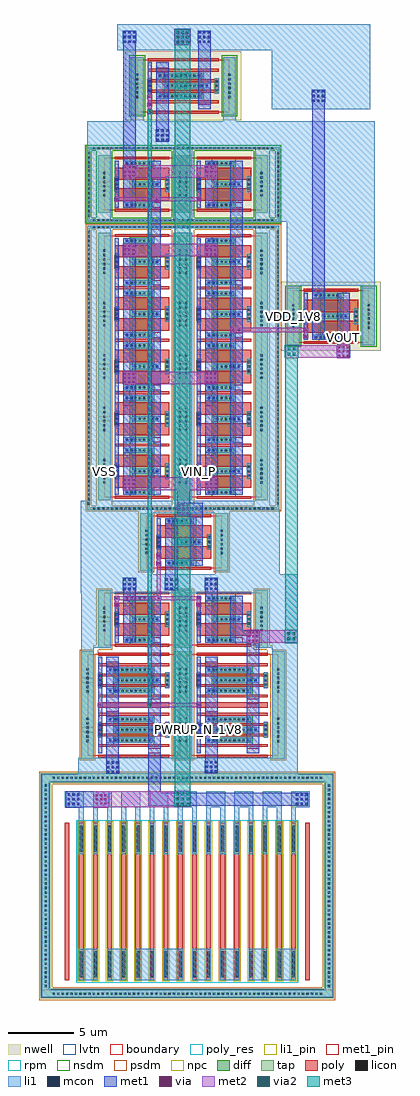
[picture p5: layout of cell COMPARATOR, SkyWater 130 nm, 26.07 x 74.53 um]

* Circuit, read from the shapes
.subckt COMPARATOR PWRUP_N_1V8 VDD_1V8 VIN_N VIN_P VOUT VSS
XM1 JNWATR_NCH_4C5F0_13/D PWRUP_N_1V8 VSS VSS sky130_fd_pr__nfet_01v8 w=2.88 l=0.22 m=4
XM2 JNWATR_NCH_4C5F0_13/D JNWATR_NCH_4C5F0_13/D VSS VSS sky130_fd_pr__nfet_01v8 w=1.6 l=0.94 m=2
XM3 JNWATR_NCH_4C5F0_17/D VIN_N JNWATR_NCH_4C5F0_16/D VSS sky130_fd_pr__nfet_01v8 w=1.6 l=0.94 m=10
XM4 JNWATR_NCH_4C5F0_16/D JNWATR_NCH_4C5F0_13/D VSS VSS sky130_fd_pr__nfet_01v8 w=1.6 l=0.94 m=2
XM5 VOUT PWRUP_N_1V8 VSS VSS sky130_fd_pr__nfet_01v8 w=2.88 l=0.22 m=4
XM6 VOUT JNWATR_NCH_4C5F0_13/D VSS VSS sky130_fd_pr__nfet_01v8 w=1.6 l=0.94 m=2
XM7 JNWATR_NCH_4C5F0_10/D VIN_P JNWATR_NCH_4C5F0_16/D VSS sky130_fd_pr__nfet_01v8 w=1.6 l=0.94 m=10
XM8 JNWATR_NCH_4C5F0_17/D JNWATR_NCH_4C5F0_17/D JNWATR_PCH_8C1F2_12/D VDD_1V8 sky130_fd_pr__pfet_01v8 w=1.6 l=0.94 m=2
XM9 JNWATR_PCH_8C1F2_12/D PWRUP_N_1V8 VDD_1V8 VDD_1V8 sky130_fd_pr__pfet_01v8 w=2.88 l=0.22 m=2
XM10 JNWATR_NCH_4C5F0_10/D JNWATR_NCH_4C5F0_17/D JNWATR_PCH_8C1F2_12/D VDD_1V8 sky130_fd_pr__pfet_01v8 w=1.6 l=0.94 m=2
XM11 VOUT JNWATR_NCH_4C5F0_10/D JNWATR_PCH_8C1F2_12/D VDD_1V8 sky130_fd_pr__pfet_01v8_lvt w=1.6 l=0.94 m=2
XR12 JNWATR_PCH_8C1F2_12/D n1 VSS sky130_fd_pr__res_high_po w=0.36 l=7.24
XR13 n2 n1 VSS sky130_fd_pr__res_high_po w=0.36 l=7.24
XR14 n2 n3 VSS sky130_fd_pr__res_high_po w=0.36 l=7.24
XR15 n4 n3 VSS sky130_fd_pr__res_high_po w=0.36 l=7.24
XR16 n4 n5 VSS sky130_fd_pr__res_high_po w=0.36 l=7.24
XR17 n6 n5 VSS sky130_fd_pr__res_high_po w=0.36 l=7.24
XR18 n6 n7 VSS sky130_fd_pr__res_high_po w=0.36 l=7.24
XR19 n8 n7 VSS sky130_fd_pr__res_high_po w=0.36 l=7.24
XR20 n8 n9 VSS sky130_fd_pr__res_high_po w=0.36 l=7.24
XR21 n10 n9 VSS sky130_fd_pr__res_high_po w=0.36 l=7.24
XR22 n10 n11 VSS sky130_fd_pr__res_high_po w=0.36 l=7.24
XR23 n12 n11 VSS sky130_fd_pr__res_high_po w=0.36 l=7.24
XR24 n12 n13 VSS sky130_fd_pr__res_high_po w=0.36 l=7.24
XR25 n14 n13 VSS sky130_fd_pr__res_high_po w=0.36 l=7.24
XR26 n14 n15 VSS sky130_fd_pr__res_high_po w=0.36 l=7.24
XR27 JNWATR_NCH_4C5F0_13/D n15 VSS sky130_fd_pr__res_high_po w=0.36 l=7.24
.ends

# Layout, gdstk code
from math import pi, radians
import gdstk
lib = gdstk.Library(unit=1e-6, precision=1e-09)
def R(c, l, rs):  # rectangles x0, y0, x1, y1
    for r in rs: c.add(gdstk.rectangle(r[:2], r[2:], *l))
def A(c, l, x, y, w, h, nx, ny, dx, dy):  # array of equal rectangles
    R(c, l, [(x+i*dx, y+j*dy, x+i*dx+w, y+j*dy+h) for i in range(nx) for j in range(ny)])
nwell = (64, 20)
diff = (65, 20)
tap = (65, 44)
poly_res = (66, 13)
poly = (66, 20)
licon = (66, 44)
li1_pin = (67, 16)
li1 = (67, 20)
mcon = (67, 44)
met1_pin = (68, 16)
met1 = (68, 20)
via = (68, 44)
met2 = (69, 20)
via2 = (69, 44)
met3 = (70, 20)
rpm = (86, 20)
nsdm = (93, 44)
psdm = (94, 20)
npc = (95, 20)
lvtn = (125, 44)
boundary = (235, 4)

jnwtr_res16 = lib.new_cell('JNWTR_RES16')
A(jnwtr_res16, poly_res, 0.9, 1.72, 0.36, 7.36, 16, 1, 1.08, 0)
A(jnwtr_res16, poly, -0.18, -0.6, 0.36, 12, 18, 1, 1.08, 0)
A(jnwtr_res16, licon, 0.985, -0.4, 0.19, 2, 16, 2, 1.08, 9.6)
R(jnwtr_res16, li1_pin, [(-0.18,12.6,1.26,13.8), (17.1,12.6,18.54,13.8)])
A(jnwtr_res16, li1, 0.9, -0.6, 1.44, 2.4, 8, 1, 2.16, 0)
A(jnwtr_res16, li1, 0.9, 9, 0.36, 3.6, 16, 1, 1.08, 0)
A(jnwtr_res16, li1, -0.18, 12.6, 1.44, 1.2, 9, 1, 2.16, 0)
R(jnwtr_res16, rpm, [(0.7,-0.8,17.66,11.6)])
A(jnwtr_res16, psdm, 0.79, -0.71, 0.58, 12.22, 16, 1, 1.08, 0)
A(jnwtr_res16, npc, 0.805, -0.695, 0.55, 12.19, 16, 1, 1.08, 0)
R(jnwtr_res16, boundary, [(0,0,18.36,13.2)])
jnwtr_res16.add(gdstk.Label('N', (0.54,13.2), layer=67, texttype=5))
jnwtr_res16.add(gdstk.Label('P', (17.82,13.2), layer=67, texttype=5))

jnwtr_rppo16 = lib.new_cell('JNWTR_RPPO16')
R(jnwtr_rppo16, tap, [(0,0,22.36,0.72), (0,0.72,0.72,16.48), (21.64,0.72,22.36,16.48), (0,16.48,22.36,17.2)])
A(jnwtr_rppo16, licon, 0.895, 0.275, 0.17, 0.17, 61, 2, 0.34, 16.48)
A(jnwtr_rppo16, licon, 0.275, 0.865, 0.17, 0.17, 1, 46, 0, 0.34)
A(jnwtr_rppo16, licon, 21.915, 0.865, 0.17, 0.17, 1, 46, 0, 0.34)
R(jnwtr_rppo16, li1_pin, [(0.08,0.08,22.28,0.64), (1.82,14.6,3.26,15.8), (19.1,14.6,20.54,15.8)])
R(jnwtr_rppo16, li1, [(0.08,0.08,22.28,0.64), (0.08,0.64,0.64,16.56), (21.72,0.64,22.28,16.56), (1.82,14.6,3.26,15.8), (19.1,14.6,20.54,15.8), (0.08,16.56,22.28,17.12)])
R(jnwtr_rppo16, psdm, [(-0.125,-0.125,22.485,0.845), (-0.125,0.845,0.845,16.355), (21.515,0.845,22.485,16.355), (-0.125,16.355,22.485,17.325)])
R(jnwtr_rppo16, boundary, [(0,0,22.36,17.2)])
jnwtr_rppo16.add(gdstk.Reference(jnwtr_res16, (2,2)))
jnwtr_rppo16.add(gdstk.Label('P', (19.82,15.2), layer=67, texttype=5))
jnwtr_rppo16.add(gdstk.Label('N', (2.54,15.2), layer=67, texttype=5))
jnwtr_rppo16.add(gdstk.Label('B', (11.18,0.36), layer=67, texttype=5))

leloatr_lvt_pch_4c5f0 = lib.new_cell('LELOATR_LVT_PCH_4C5F0')
R(leloatr_lvt_pch_4c5f0, nwell, [(-0.92,-0.64,6.68,4.64)])
R(leloatr_lvt_pch_4c5f0, diff, [(2.08,0.2,3.68,3.8)])
R(leloatr_lvt_pch_4c5f0, tap, [(-0.48,-0.2,0.48,4.2), (5.28,-0.2,6.24,4.2)])
R(leloatr_lvt_pch_4c5f0, poly, [(0.8,-0.11,4.96,0.11), (0.8,0.73,4.96,1.67), (0.8,1.67,1.12,2.33), (4.64,1.67,4.96,2.33), (0.8,2.33,4.96,3.27), (0.8,3.89,4.96,4.11)])
A(leloatr_lvt_pch_4c5f0, licon, 2.285, 0.315, 0.17, 0.17, 4, 3, 0.34, 1.6)
A(leloatr_lvt_pch_4c5f0, licon, -0.085, 1.065, 0.17, 0.17, 1, 6, 0, 0.34)
A(leloatr_lvt_pch_4c5f0, licon, 5.675, 1.065, 0.17, 0.17, 1, 6, 0, 0.34)
A(leloatr_lvt_pch_4c5f0, licon, 0.875, 1.575, 0.17, 0.17, 1, 3, 0, 0.34)
A(leloatr_lvt_pch_4c5f0, licon, 4.715, 1.575, 0.17, 0.17, 1, 3, 0, 0.34)
R(leloatr_lvt_pch_4c5f0, li1_pin, [(-0.48,1.8,0.48,2.2)])
R(leloatr_lvt_pch_4c5f0, li1, [(-0.48,-0.2,0.48,4.2), (5.28,-0.2,6.24,4.2), (1.44,0.2,3.68,0.6), (0.8,1.4,1.12,2.6), (4.64,1.4,4.96,2.6), (2.08,1.8,4.32,2.2), (1.44,3.4,3.68,3.8)])
A(leloatr_lvt_pch_4c5f0, mcon, 0.875, 1.555, 0.17, 0.17, 1, 3, 0, 0.36)
R(leloatr_lvt_pch_4c5f0, mcon, [(1.655,0.315,1.825,0.485), (2.015,0.315,2.185,0.485), (3.575,1.915,3.745,2.085), (3.935,1.915,4.105,2.085), (1.655,3.515,1.825,3.685), (2.015,3.515,2.185,3.685)])
R(leloatr_lvt_pch_4c5f0, met1_pin, [(3.36,0.2,4.32,0.6), (0.8,1.8,1.12,2.2), (1.44,3,2.4,3.4)])
R(leloatr_lvt_pch_4c5f0, met1, [(0.8,0.2,1.12,3.8), (1.44,0.2,2.4,3.8), (3.36,0.2,4.32,3.8)])
R(leloatr_lvt_pch_4c5f0, nsdm, [(-0.605,-0.325,0.605,4.325), (5.155,-0.325,6.365,4.325)])
R(leloatr_lvt_pch_4c5f0, psdm, [(1.955,0.075,3.805,3.925)])
R(leloatr_lvt_pch_4c5f0, npc, [(0.775,1.475,1.145,2.525), (4.615,1.475,4.985,2.525)])
R(leloatr_lvt_pch_4c5f0, lvtn, [(1.9,0.55,3.86,3.45)])
R(leloatr_lvt_pch_4c5f0, boundary, [(0,0,5.76,4)])
leloatr_lvt_pch_4c5f0.add(gdstk.Label('D', (3.84,0.4), layer=68, texttype=5))
leloatr_lvt_pch_4c5f0.add(gdstk.Label('G', (0.96,2), layer=68, texttype=5))
leloatr_lvt_pch_4c5f0.add(gdstk.Label('S', (1.92,3.2), layer=68, texttype=5))
leloatr_lvt_pch_4c5f0.add(gdstk.Label('B', (0,2), layer=67, texttype=5))

leloatr_nch_8c1f2 = lib.new_cell('LELOATR_NCH_8C1F2')
R(leloatr_nch_8c1f2, diff, [(2.08,1,4.96,3)])
R(leloatr_nch_8c1f2, tap, [(-0.48,-0.2,0.48,4.2), (6.56,-0.2,7.52,4.2)])
A(leloatr_nch_8c1f2, poly, 0.8, -0.11, 5.44, 0.22, 1, 6, 0, 0.8)
R(leloatr_nch_8c1f2, poly, [(0.8,1.4,1.12,1.49), (5.92,1.4,6.24,1.49), (0.8,1.71,1.12,2.29), (5.92,1.71,6.24,2.29), (0.8,2.51,1.12,2.6), (5.92,2.51,6.24,2.6)])
A(leloatr_nch_8c1f2, licon, -0.085, 1.065, 0.17, 0.17, 1, 6, 0, 0.34)
A(leloatr_nch_8c1f2, licon, 6.955, 1.065, 0.17, 0.17, 1, 6, 0, 0.34)
A(leloatr_nch_8c1f2, licon, 2.245, 1.115, 0.17, 0.17, 8, 3, 0.34, 0.8)
A(leloatr_nch_8c1f2, licon, 0.875, 1.575, 0.17, 0.17, 1, 3, 0, 0.34)
A(leloatr_nch_8c1f2, licon, 5.995, 1.575, 0.17, 0.17, 1, 3, 0, 0.34)
R(leloatr_nch_8c1f2, li1_pin, [(-0.48,1.8,0.48,2.2)])
R(leloatr_nch_8c1f2, li1, [(-0.48,-0.2,0.48,4.2), (6.56,-0.2,7.52,4.2), (1.44,1,4.96,1.4), (0.8,1.4,1.12,2.6), (5.92,1.4,6.24,2.6), (2.08,1.8,5.6,2.2), (1.44,2.6,4.96,3)])
A(leloatr_nch_8c1f2, mcon, 0.875, 1.555, 0.17, 0.17, 1, 3, 0, 0.36)
R(leloatr_nch_8c1f2, mcon, [(1.655,1.115,1.825,1.285), (2.015,1.115,2.185,1.285), (4.855,1.915,5.025,2.085), (5.215,1.915,5.385,2.085), (1.655,2.715,1.825,2.885), (2.015,2.715,2.185,2.885)])
R(leloatr_nch_8c1f2, met1_pin, [(4.64,0.2,5.6,0.6), (0.8,1.8,1.12,2.2), (1.44,3,2.4,3.4)])
R(leloatr_nch_8c1f2, met1, [(0.8,0.2,1.12,3.8), (1.44,0.2,2.4,3.8), (4.64,0.2,5.6,3.8)])
R(leloatr_nch_8c1f2, nsdm, [(1.955,0.875,5.085,3.125)])
R(leloatr_nch_8c1f2, psdm, [(-0.605,-0.325,0.605,4.325), (6.435,-0.325,7.645,4.325)])
R(leloatr_nch_8c1f2, npc, [(0.775,1.475,1.145,2.525), (5.895,1.475,6.265,2.525)])
R(leloatr_nch_8c1f2, boundary, [(0,0,7.04,4)])
leloatr_nch_8c1f2.add(gdstk.Label('D', (5.12,0.4), layer=68, texttype=5))
leloatr_nch_8c1f2.add(gdstk.Label('G', (0.96,2), layer=68, texttype=5))
leloatr_nch_8c1f2.add(gdstk.Label('S', (1.92,3.2), layer=68, texttype=5))
leloatr_nch_8c1f2.add(gdstk.Label('B', (0,2), layer=67, texttype=5))

jnwatr_pch_4c5f0 = lib.new_cell('JNWATR_PCH_4C5F0')
R(jnwatr_pch_4c5f0, nwell, [(-0.92,-0.64,6.68,4.64)])
R(jnwatr_pch_4c5f0, diff, [(2.08,0.2,3.68,3.8)])
R(jnwatr_pch_4c5f0, tap, [(-0.48,-0.2,0.48,4.2), (5.28,-0.2,6.24,4.2)])
R(jnwatr_pch_4c5f0, poly, [(0.8,-0.11,4.96,0.11), (0.8,0.73,4.96,1.67), (0.8,1.67,1.12,2.33), (4.64,1.67,4.96,2.33), (0.8,2.33,4.96,3.27), (0.8,3.89,4.96,4.11)])
A(jnwatr_pch_4c5f0, licon, 2.285, 0.315, 0.17, 0.17, 4, 3, 0.34, 1.6)
A(jnwatr_pch_4c5f0, licon, -0.085, 1.065, 0.17, 0.17, 1, 6, 0, 0.34)
A(jnwatr_pch_4c5f0, licon, 5.675, 1.065, 0.17, 0.17, 1, 6, 0, 0.34)
A(jnwatr_pch_4c5f0, licon, 0.87, 1.575, 0.17, 0.17, 1, 3, 0, 0.34)
A(jnwatr_pch_4c5f0, licon, 4.71, 1.575, 0.17, 0.17, 1, 3, 0, 0.34)
R(jnwatr_pch_4c5f0, li1_pin, [(-0.48,1.8,0.48,2.2)])
R(jnwatr_pch_4c5f0, li1, [(-0.48,-0.2,0.48,4.2), (5.28,-0.2,6.24,4.2), (1.44,0.2,3.68,0.6), (0.8,1.4,1.12,2.6), (4.64,1.4,4.96,2.6), (2.08,1.8,4.32,2.2), (1.44,3.4,3.68,3.8)])
A(jnwatr_pch_4c5f0, mcon, 0.87, 1.555, 0.17, 0.17, 1, 3, 0, 0.36)
R(jnwatr_pch_4c5f0, mcon, [(1.655,0.315,1.825,0.485), (2.015,0.315,2.185,0.485), (3.575,1.915,3.745,2.085), (3.935,1.915,4.105,2.085), (1.655,3.515,1.825,3.685), (2.015,3.515,2.185,3.685)])
R(jnwatr_pch_4c5f0, met1_pin, [(3.36,0.2,4.32,0.6), (0.8,1.8,1.12,2.2), (1.44,3,2.4,3.4)])
R(jnwatr_pch_4c5f0, met1, [(0.8,0.2,1.12,3.8), (1.44,0.2,2.4,3.8), (3.36,0.2,4.32,3.8)])
R(jnwatr_pch_4c5f0, nsdm, [(-0.605,-0.325,0.605,4.325), (5.155,-0.325,6.365,4.325)])
R(jnwatr_pch_4c5f0, psdm, [(1.955,0.075,3.805,3.925)])
R(jnwatr_pch_4c5f0, npc, [(0.77,1.475,1.14,2.525), (4.61,1.475,4.98,2.525)])
R(jnwatr_pch_4c5f0, boundary, [(0,0,5.76,4)])
jnwatr_pch_4c5f0.add(gdstk.Label('D', (3.84,0.4), layer=68, texttype=5))
jnwatr_pch_4c5f0.add(gdstk.Label('G', (0.96,2), layer=68, texttype=5))
jnwatr_pch_4c5f0.add(gdstk.Label('S', (1.92,3.2), layer=68, texttype=5))
jnwatr_pch_4c5f0.add(gdstk.Label('B', (0,2), layer=67, texttype=5))

jnwatr_nch_4c5f0 = lib.new_cell('JNWATR_NCH_4C5F0')
R(jnwatr_nch_4c5f0, diff, [(2.08,0.2,3.68,3.8)])
R(jnwatr_nch_4c5f0, tap, [(-0.48,-0.2,0.48,4.2), (5.28,-0.2,6.24,4.2)])
R(jnwatr_nch_4c5f0, poly, [(0.8,-0.11,4.96,0.11), (0.8,0.73,4.96,1.67), (0.8,1.67,1.12,2.33), (4.64,1.67,4.96,2.33), (0.8,2.33,4.96,3.27), (0.8,3.89,4.96,4.11)])
A(jnwatr_nch_4c5f0, licon, 2.285, 0.315, 0.17, 0.17, 4, 3, 0.34, 1.6)
A(jnwatr_nch_4c5f0, licon, -0.085, 1.065, 0.17, 0.17, 1, 6, 0, 0.34)
A(jnwatr_nch_4c5f0, licon, 5.675, 1.065, 0.17, 0.17, 1, 6, 0, 0.34)
A(jnwatr_nch_4c5f0, licon, 0.87, 1.575, 0.17, 0.17, 1, 3, 0, 0.34)
A(jnwatr_nch_4c5f0, licon, 4.71, 1.575, 0.17, 0.17, 1, 3, 0, 0.34)
R(jnwatr_nch_4c5f0, li1_pin, [(-0.48,1.8,0.48,2.2)])
R(jnwatr_nch_4c5f0, li1, [(-0.48,-0.2,0.48,4.2), (5.28,-0.2,6.24,4.2), (1.44,0.2,3.68,0.6), (0.8,1.4,1.12,2.6), (4.64,1.4,4.96,2.6), (2.08,1.8,4.32,2.2), (1.44,3.4,3.68,3.8)])
A(jnwatr_nch_4c5f0, mcon, 0.87, 1.555, 0.17, 0.17, 1, 3, 0, 0.36)
R(jnwatr_nch_4c5f0, mcon, [(1.655,0.315,1.825,0.485), (2.015,0.315,2.185,0.485), (3.575,1.915,3.745,2.085), (3.935,1.915,4.105,2.085), (1.655,3.515,1.825,3.685), (2.015,3.515,2.185,3.685)])
R(jnwatr_nch_4c5f0, met1_pin, [(3.36,0.2,4.32,0.6), (0.8,1.8,1.12,2.2), (1.44,3,2.4,3.4)])
R(jnwatr_nch_4c5f0, met1, [(0.8,0.2,1.12,3.8), (1.44,0.2,2.4,3.8), (3.36,0.2,4.32,3.8)])
R(jnwatr_nch_4c5f0, nsdm, [(1.955,0.075,3.805,3.925)])
R(jnwatr_nch_4c5f0, psdm, [(-0.605,-0.325,0.605,4.325), (5.155,-0.325,6.365,4.325)])
R(jnwatr_nch_4c5f0, npc, [(0.77,1.475,1.14,2.525), (4.61,1.475,4.98,2.525)])
R(jnwatr_nch_4c5f0, boundary, [(0,0,5.76,4)])
jnwatr_nch_4c5f0.add(gdstk.Label('D', (3.84,0.4), layer=68, texttype=5))
jnwatr_nch_4c5f0.add(gdstk.Label('G', (0.96,2), layer=68, texttype=5))
jnwatr_nch_4c5f0.add(gdstk.Label('S', (1.92,3.2), layer=68, texttype=5))
jnwatr_nch_4c5f0.add(gdstk.Label('B', (0,2), layer=67, texttype=5))

jnwatr_pch_8c1f2 = lib.new_cell('JNWATR_PCH_8C1F2')
R(jnwatr_pch_8c1f2, nwell, [(-0.92,-0.64,7.96,4.64)])
R(jnwatr_pch_8c1f2, diff, [(2.08,1,4.96,3)])
R(jnwatr_pch_8c1f2, tap, [(-0.48,-0.2,0.48,4.2), (6.56,-0.2,7.52,4.2)])
A(jnwatr_pch_8c1f2, poly, 0.8, -0.11, 5.44, 0.22, 1, 6, 0, 0.8)
R(jnwatr_pch_8c1f2, poly, [(0.8,1.4,1.12,1.49), (5.92,1.4,6.24,1.49), (0.8,1.71,1.12,2.29), (5.92,1.71,6.24,2.29), (0.8,2.51,1.12,2.6), (5.92,2.51,6.24,2.6)])
A(jnwatr_pch_8c1f2, licon, -0.085, 1.065, 0.17, 0.17, 1, 6, 0, 0.34)
A(jnwatr_pch_8c1f2, licon, 6.955, 1.065, 0.17, 0.17, 1, 6, 0, 0.34)
A(jnwatr_pch_8c1f2, licon, 2.245, 1.115, 0.17, 0.17, 8, 3, 0.34, 0.8)
A(jnwatr_pch_8c1f2, licon, 0.87, 1.575, 0.17, 0.17, 1, 3, 0, 0.34)
A(jnwatr_pch_8c1f2, licon, 5.99, 1.575, 0.17, 0.17, 1, 3, 0, 0.34)
R(jnwatr_pch_8c1f2, li1_pin, [(-0.48,1.8,0.48,2.2)])
R(jnwatr_pch_8c1f2, li1, [(-0.48,-0.2,0.48,4.2), (6.56,-0.2,7.52,4.2), (1.44,1,4.96,1.4), (0.8,1.4,1.12,2.6), (5.92,1.4,6.24,2.6), (2.08,1.8,5.6,2.2), (1.44,2.6,4.96,3)])
A(jnwatr_pch_8c1f2, mcon, 0.87, 1.555, 0.17, 0.17, 1, 3, 0, 0.36)
R(jnwatr_pch_8c1f2, mcon, [(1.655,1.115,1.825,1.285), (2.015,1.115,2.185,1.285), (4.855,1.915,5.025,2.085), (5.215,1.915,5.385,2.085), (1.655,2.715,1.825,2.885), (2.015,2.715,2.185,2.885)])
R(jnwatr_pch_8c1f2, met1_pin, [(4.64,0.2,5.6,0.6), (0.8,1.8,1.12,2.2), (1.44,3,2.4,3.4)])
R(jnwatr_pch_8c1f2, met1, [(0.8,0.2,1.12,3.8), (1.44,0.2,2.4,3.8), (4.64,0.2,5.6,3.8)])
R(jnwatr_pch_8c1f2, nsdm, [(-0.605,-0.325,0.605,4.325), (6.435,-0.325,7.645,4.325)])
R(jnwatr_pch_8c1f2, psdm, [(1.955,0.875,5.085,3.125)])
R(jnwatr_pch_8c1f2, npc, [(0.77,1.475,1.14,2.525), (5.89,1.475,6.26,2.525)])
R(jnwatr_pch_8c1f2, boundary, [(0,0,7.04,4)])
jnwatr_pch_8c1f2.add(gdstk.Label('D', (5.12,0.4), layer=68, texttype=5))
jnwatr_pch_8c1f2.add(gdstk.Label('G', (0.96,2), layer=68, texttype=5))
jnwatr_pch_8c1f2.add(gdstk.Label('S', (1.92,3.2), layer=68, texttype=5))
jnwatr_pch_8c1f2.add(gdstk.Label('B', (0,2), layer=67, texttype=5))

comparator = lib.new_cell('COMPARATOR')
R(comparator, nwell, [(44.73,108.23,59.755,108.235), (44.73,108.235,59.765,113.765), (44.73,113.765,59.755,114.285)])
R(comparator, tap, [(44.915,86.415,59.585,86.585), (44.915,86.585,45.085,107.915), (59.415,86.585,59.585,107.915), (44.915,107.915,59.585,108.085), (44.91,108.41,59.575,108.58), (44.91,108.58,45.08,113.935), (59.405,108.58,59.575,113.935), (44.91,113.935,59.575,114.105)])
A(comparator, licon, 45.365, 86.415, 0.17, 0.17, 41, 2, 0.34, 21.5)
A(comparator, licon, 44.915, 86.795, 0.17, 0.17, 1, 62, 0, 0.34)
A(comparator, licon, 59.415, 86.795, 0.17, 0.17, 1, 62, 0, 0.34)
A(comparator, licon, 45.355, 108.41, 0.17, 0.17, 41, 2, 0.34, 5.525)
A(comparator, licon, 44.91, 108.79, 0.17, 0.17, 1, 15, 0, 0.34)
A(comparator, licon, 59.405, 108.79, 0.17, 0.17, 1, 15, 0, 0.34)
R(comparator, li1_pin, [(45.73,89.145,46.69,89.545), (60.155,100.965,61.115,101.365)])
R(comparator, li1, [(43.29,63.72,44.43,64.86), (60.84,63.845,61.74,64.745), (44.225,66.02,60.98,67.48), (44.45,67.48,45.41,68.36), (59.52,67.48,60.98,74.52), (51.615,71.16,52.815,71.29), (51.615,71.29,51.97,71.735), (52.425,71.29,52.815,71.735), (51.615,71.735,52.815,74.11), (51.49,74.11,52.94,76.47), (44.45,74.52,45.41,75.85), (59.02,74.52,60.98,75.85), (44.45,75.85,46.69,76.81), (57.74,75.85,60.98,76.81), (51.49,76.47,52.69,77.05), (44.45,76.81,46.23,79.24), (58.02,76.81,60.98,76.98), (58.435,76.98,60.98,80.02), (44.45,79.24,46.69,80.02), (44.41,80.02,60.98,81.48), (44.415,81.48,49.895,83.495), (54.695,81.48,59.595,82.945), (55.31,82.945,59.595,86.135), (44.415,83.495,48.99,84.5), (44.415,84.5,49.895,85.98), (44.415,85.98,49.1,86.135), (44.415,86.135,59.595,86.445), (44.415,86.445,59.585,86.585), (44.41,86.585,59.585,87.095), (44.915,87.095,46.69,88.345), (51.49,87.095,52.94,91.795), (57.74,87.095,59.585,88.34), (58.52,88.34,59.585,102.665), (44.915,88.345,45.98,89.145), (44.915,89.145,46.69,89.545), (44.915,89.545,45.98,105.52), (60.155,100.965,61.115,101.365), (65.915,102.265,66.875,103.52), (60.155,102.335,61.115,103.52), (57.74,102.665,59.585,107.785), (60.155,103.52,66.875,108.41), (44.915,105.52,46.05,106.345), (46.37,105.545,46.69,106.345), (44.915,106.345,46.69,107.915), (57.735,107.785,59.585,107.915), (44.915,107.915,59.585,108.085), (44.91,108.41,66.875,108.58), (44.91,108.58,46.69,110.27), (51.49,108.58,52.94,113.935), (57.725,108.58,66.875,109.405), (57.74,109.405,66.875,110.245), (58.51,110.245,66.875,112.51), (44.91,110.27,45.875,112.51), (44.91,112.51,46.69,113.935), (57.74,112.51,66.875,113.935), (44.91,113.935,66.875,116.06), (48.245,116.06,49.205,117.535), (55.285,116.06,56.245,117.535), (60.155,116.06,66.875,116.065), (59,116.99,66.515,118.99), (59,118.99,66.5,121.5), (47.21,121.5,66.5,123.5)])
A(comparator, mcon, 43.415, 63.845, 0.17, 0.17, 3, 3, 0.36, 0.36)
A(comparator, mcon, 60.845, 63.85, 0.17, 0.17, 3, 3, 0.36, 0.36)
A(comparator, mcon, 46.405, 66.29, 0.17, 0.17, 3, 3, 0.36, 0.36)
A(comparator, mcon, 53.935, 66.325, 0.17, 0.17, 3, 3, 0.36, 0.36)
A(comparator, mcon, 47.685, 80.275, 0.17, 0.17, 3, 3, 0.36, 0.36)
A(comparator, mcon, 50.89, 80.275, 0.17, 0.17, 3, 3, 0.36, 0.36)
A(comparator, mcon, 53.935, 80.29, 0.17, 0.17, 3, 3, 0.36, 0.36)
A(comparator, mcon, 50.2, 114.555, 0.17, 0.17, 3, 3, 0.36, 0.36)
A(comparator, mcon, 62.11, 117.555, 0.17, 0.17, 3, 3, 0.36, 0.36)
A(comparator, mcon, 51.745, 122.045, 0.17, 0.17, 3, 3, 0.36, 0.36)
A(comparator, mcon, 47.685, 122.055, 0.17, 0.17, 3, 3, 0.36, 0.36)
A(comparator, mcon, 53.4, 122.055, 0.17, 0.17, 3, 3, 0.36, 0.36)
R(comparator, met1_pin, [(53.26,69.4,53.58,69.8), (53.26,89.14,53.58,89.54), (47.01,89.145,47.33,89.545), (63.995,99.365,64.955,99.765)])
R(comparator, met1, [(43.26,63.66,44.46,63.69), (43.26,63.69,46.595,64.89), (49.57,63.815,61.8,64.775), (49.57,64.775,50.53,68.89), (43.26,64.89,44.46,64.92), (46.34,66.255,47.36,67.215), (53.87,66.29,54.89,67.25), (46.37,67.215,47.33,69.92), (53.9,67.25,54.86,73.7), (53.26,69.4,53.58,69.8), (57.1,70.43,58.06,76.25), (53.26,70.73,53.58,71.34), (49.57,70.945,50.53,72.54), (46.37,71.03,47.33,74.02), (45.73,71.04,46.05,71.34), (45.7,71.34,46.08,71.66), (53.23,71.34,53.61,71.66), (45.73,71.66,46.05,72.24), (53.26,71.66,53.58,72.095), (49.57,74.12,50.53,76.455), (55.82,76.25,58.09,77.21), (49.57,77.675,50.53,79.015), (47.65,78.08,48.61,80.24), (53.9,78.22,54.86,80.255), (47.005,78.96,47.325,79.34), (53.26,78.975,53.58,79.355), (49.67,79.46,49.99,79.84), (53.26,79.46,53.58,79.84), (46.98,79.49,47.36,79.81), (50.185,79.495,50.565,79.815), (47.62,80.24,48.64,81.2), (50.825,80.24,51.845,81.2), (53.87,80.255,54.89,81.215), (50.855,81.2,51.815,84.98), (50.215,82.115,50.535,82.495), (50.215,82.68,50.535,83.06), (52.775,84.585,53.735,85.93), (51.765,85.93,53.735,86.92), (51.765,86.92,52.725,86.95), (53.91,87.88,54.87,88.02), (47.65,87.91,48.61,95.995), (53.9,88.02,54.87,88.9), (47.01,88.125,47.33,104.48), (53.26,88.165,53.58,106.545), (53.9,88.9,54.86,95.965), (49.57,89.52,50.53,112.4), (55.82,90.02,56.78,112.485), (53.895,95.965,54.86,96.985), (47.62,95.995,48.64,96.955), (47.65,96.955,48.61,105.745), (53.9,96.985,54.86,105.715), (63.965,98.02,64.985,98.98), (63.995,98.98,64.955,101.015), (61.435,99.46,61.755,99.84), (61.405,99.965,61.785,100.285), (62.075,101.52,63.035,117.52), (53.895,105.715,54.86,106.48), (47.62,105.745,48.64,106.705), (53.895,106.48,54.855,106.735), (53.26,109.935,53.58,110.315), (46.98,109.965,47.36,110.285), (47.65,111.52,48.61,111.75), (47.63,111.75,48.65,112.71), (53.87,111.75,54.89,112.71), (47.65,112.71,48.61,122.02), (50.135,114.52,51.155,115.48), (50.165,115.48,51.125,119.095), (49.52,117.145,49.84,117.525), (62.045,117.52,63.065,118.48), (49.525,117.735,49.845,118.115), (53.365,119.52,54.325,122.02), (51.59,121.86,52.79,121.89), (51.56,121.89,52.82,123.09), (47.62,122.02,48.64,122.98), (53.335,122.02,54.355,122.98), (51.59,123.09,52.79,123.12)])
A(comparator, via, 45.57, 63.895, 0.15, 0.15, 3, 3, 0.32, 0.32)
A(comparator, via, 57.185, 76.335, 0.15, 0.15, 3, 3, 0.32, 0.32)
A(comparator, via, 51.85, 86.045, 0.15, 0.15, 3, 3, 0.32, 0.32)
A(comparator, via, 47.735, 87.995, 0.15, 0.15, 3, 3, 0.32, 0.32)
A(comparator, via, 53.995, 87.995, 0.15, 0.15, 3, 3, 0.32, 0.32)
A(comparator, via, 47.735, 96.08, 0.15, 0.15, 3, 3, 0.32, 0.32)
A(comparator, via, 53.98, 96.08, 0.15, 0.15, 3, 3, 0.32, 0.32)
A(comparator, via, 64.08, 98.105, 0.15, 0.15, 3, 3, 0.32, 0.32)
A(comparator, via, 47.735, 105.83, 0.15, 0.15, 3, 3, 0.32, 0.32)
A(comparator, via, 53.98, 105.83, 0.15, 0.15, 3, 3, 0.32, 0.32)
A(comparator, via, 47.745, 111.835, 0.15, 0.15, 3, 3, 0.32, 0.32)
A(comparator, via, 53.985, 111.835, 0.15, 0.15, 3, 3, 0.32, 0.32)
A(comparator, via, 51.795, 122.095, 0.15, 0.15, 3, 3, 0.32, 0.32)
R(comparator, via, [(45.815,71.425,45.965,71.575), (53.345,71.425,53.495,71.575), (47.09,79.075,47.24,79.225), (53.345,79.09,53.495,79.24), (47.095,79.575,47.245,79.725), (49.755,79.575,49.905,79.725), (53.345,79.575,53.495,79.725), (50.3,79.58,50.45,79.73), (50.3,82.23,50.45,82.38), (50.3,82.795,50.45,82.945), (61.52,99.575,61.67,99.725), (55.99,100.05,56.14,100.2), (56.455,100.05,56.605,100.2), (61.52,100.05,61.67,100.2), (47.095,110.05,47.245,110.2), (49.715,110.05,49.865,110.2), (50.145,110.05,50.295,110.2), (53.345,110.05,53.495,110.2), (49.605,117.26,49.755,117.41), (49.61,117.85,49.76,118)])
R(comparator, met2, [(45.365,63.66,46.565,63.69), (45.365,63.69,52.79,64.89), (45.365,64.89,46.565,64.92), (51.59,64.89,52.79,64.935), (45.73,71.31,46.05,71.34), (53.26,71.31,53.58,71.34), (49.54,71.315,49.82,71.34), (45.73,71.34,53.58,71.66), (45.73,71.66,46.05,71.69), (49.54,71.66,49.82,71.685), (53.26,71.66,53.58,71.69), (57.1,76.22,58.06,76.25), (57.1,76.25,60.975,77.21), (57.1,77.21,58.06,77.24), (60.015,77.21,60.975,77.255), (46.975,78.99,47.355,79.31), (53.23,79.005,53.61,79.325), (47.005,79.31,47.325,79.46), (53.26,79.325,53.58,79.49), (47.005,79.46,47.33,79.49), (50.215,79.465,50.535,79.49), (47.005,79.49,53.61,79.81), (47.01,79.81,47.33,79.84), (50.215,79.81,50.535,82.145), (50.185,82.145,50.565,82.465), (50.215,82.465,50.535,82.71), (50.185,82.71,50.565,83.03), (51.76,85.935,52.72,85.96), (51.735,85.96,52.755,86.92), (51.76,86.92,52.72,87.91), (47.6,87.91,54.9,88.87), (47.65,95.965,48.61,95.995), (47.65,95.995,54.885,96.955), (47.65,96.955,48.61,96.985), (60.02,97.975,60.98,98.02), (63.995,97.99,64.955,98.02), (60.02,98.02,64.955,98.98), (63.995,98.98,64.955,99.01), (61.405,99.49,61.785,99.81), (61.435,99.81,61.755,99.965), (55.905,99.935,56.225,99.965), (56.37,99.935,56.69,99.965), (55.835,99.965,61.79,100.285), (55.905,100.285,56.225,100.315), (56.37,100.285,56.69,100.315), (61.435,100.285,61.755,100.315), (47.65,105.715,48.61,105.745), (47.65,105.745,54.885,106.705), (47.65,106.705,48.61,106.735), (47.01,109.935,47.33,109.965), (50.06,109.935,50.38,109.965), (47.01,109.965,53.61,110.285), (47.01,110.285,47.33,110.315), (50.06,110.285,50.38,110.315), (47.66,111.72,48.62,111.75), (53.9,111.72,54.86,111.75), (47.66,111.75,54.86,112.71), (47.66,112.71,48.62,112.74), (53.9,112.71,54.86,112.74), (49.52,116.605,49.84,117.175), (49.49,117.175,49.875,117.495), (49.525,117.495,49.845,117.765), (49.495,117.765,49.875,118.085), (51.56,121.89,52.82,123.09)])
A(comparator, via2, 51.69, 63.815, 0.2, 0.2, 3, 3, 0.4, 0.4)
A(comparator, via2, 51.69, 121.99, 0.2, 0.2, 3, 3, 0.4, 0.4)
R(comparator, via2, [(49.58,71.4,49.78,71.6), (60.195,76.455,60.395,76.655), (60.595,76.455,60.795,76.655), (60.195,76.855,60.395,77.055), (60.595,76.855,60.795,77.055), (60.2,98.175,60.4,98.375), (60.6,98.175,60.8,98.375), (60.2,98.575,60.4,98.775), (60.6,98.575,60.8,98.775), (49.58,116.69,49.78,116.89)])
R(comparator, met3, [(51.565,63.715,52.815,64.915), (51.59,64.915,52.79,123.09), (49.515,71.335,49.845,71.665), (49.52,71.665,49.84,116.625), (60.02,76.215,60.98,76.275), (59.99,76.275,61,77.235), (60.02,77.235,60.98,97.995), (59.995,97.995,61.005,98.955), (49.495,116.625,49.865,116.955)])
A(comparator, nsdm, 54.415, 91.265, 1.85, 0.15, 1, 4, 0, 4)
A(comparator, nsdm, 48.165, 91.27, 1.85, 0.15, 1, 4, 0, 4)
R(comparator, nsdm, [(44.785,108.285,59.7,108.705), (44.785,108.705,45.205,113.81), (45.605,108.705,46.815,108.945), (51.365,108.705,53.065,108.945), (57.615,108.705,58.825,108.945), (59.28,108.705,59.7,113.81), (45.605,113.595,46.815,113.81), (51.365,113.595,53.065,113.81), (57.615,113.595,58.825,113.81), (44.785,113.81,59.7,114.23)])
R(comparator, psdm, [(45.535,75.355,45.76,75.705), (58.67,75.355,58.895,75.705), (45.38,75.705,45.76,75.725), (51.365,75.705,53.065,75.725), (58.67,75.705,59.05,75.725), (45.38,75.725,45.605,76.075), (58.825,75.725,59.05,76.075), (48.81,86.27,50.02,86.29), (54.57,86.27,55.78,86.29), (44.79,86.29,59.71,86.71), (44.79,86.71,45.21,107.79), (45.605,86.71,46.815,87.02), (51.365,86.71,53.065,87.015), (57.615,86.71,58.825,87.015), (59.29,86.71,59.71,107.79), (51.365,87.015,51.855,87.02), (52.575,107.665,53.065,107.67), (57.615,107.665,58.825,107.79), (45.605,107.67,46.815,107.79), (51.365,107.67,53.065,107.79), (44.79,107.79,59.71,108.21)])
comparator.add(gdstk.Reference(jnwtr_rppo16, (63.73,49.09), rotation=pi, x_reflection=True))
comparator.add(gdstk.Reference(leloatr_lvt_pch_4c5f0, (60.635,99.175)))
comparator.add(gdstk.Reference(leloatr_nch_8c1f2, (52.46,67.6)))
comparator.add(gdstk.Reference(leloatr_nch_8c1f2, (52.46,71.38)))
comparator.add(gdstk.Reference(leloatr_nch_8c1f2, (44.93,67.6)))
comparator.add(gdstk.Reference(leloatr_nch_8c1f2, (44.93,71.38)))
comparator.add(gdstk.Reference(jnwatr_pch_4c5f0, (46.21,109.27)))
comparator.add(gdstk.Reference(jnwatr_nch_4c5f0, (52.46,103.34)))
comparator.add(gdstk.Reference(jnwatr_nch_4c5f0, (52.46,99.34)))
comparator.add(gdstk.Reference(jnwatr_nch_4c5f0, (52.46,95.34)))
comparator.add(gdstk.Reference(jnwatr_nch_4c5f0, (52.46,91.34)))
comparator.add(gdstk.Reference(jnwatr_nch_4c5f0, (52.46,87.34)))
comparator.add(gdstk.Reference(jnwatr_pch_8c1f2, (48.725,116.775)))
comparator.add(gdstk.Reference(jnwatr_nch_4c5f0, (46.21,76.05)))
comparator.add(gdstk.Reference(jnwatr_pch_4c5f0, (52.46,109.27)))
comparator.add(gdstk.Reference(jnwatr_nch_4c5f0, (52.46,76.05)))
comparator.add(gdstk.Reference(jnwatr_nch_4c5f0, (49.415,81.945)))
comparator.add(gdstk.Reference(jnwatr_nch_4c5f0, (46.21,103.345)))
comparator.add(gdstk.Reference(jnwatr_nch_4c5f0, (46.21,99.345)))
comparator.add(gdstk.Reference(jnwatr_nch_4c5f0, (46.21,95.345)))
comparator.add(gdstk.Reference(jnwatr_nch_4c5f0, (46.21,91.345)))
comparator.add(gdstk.Reference(jnwatr_nch_4c5f0, (46.21,87.345)))
comparator.add(gdstk.Label('VDD_1V8', (60.635,101.165), layer=67, texttype=5))
comparator.add(gdstk.Label('PWRUP_N_1V8', (53.42,69.6), layer=68, texttype=5))
comparator.add(gdstk.Label('VSS', (46.21,89.345), layer=67, texttype=5))
comparator.add(gdstk.Label('VIN_P', (53.42,89.34), layer=68, texttype=5))
comparator.add(gdstk.Label('VIN_N', (47.17,89.345), layer=68, texttype=5))
comparator.add(gdstk.Label('VOUT', (64.475,99.565), layer=68, texttype=5))

lib.write_gds('COMPARATOR.gds')
